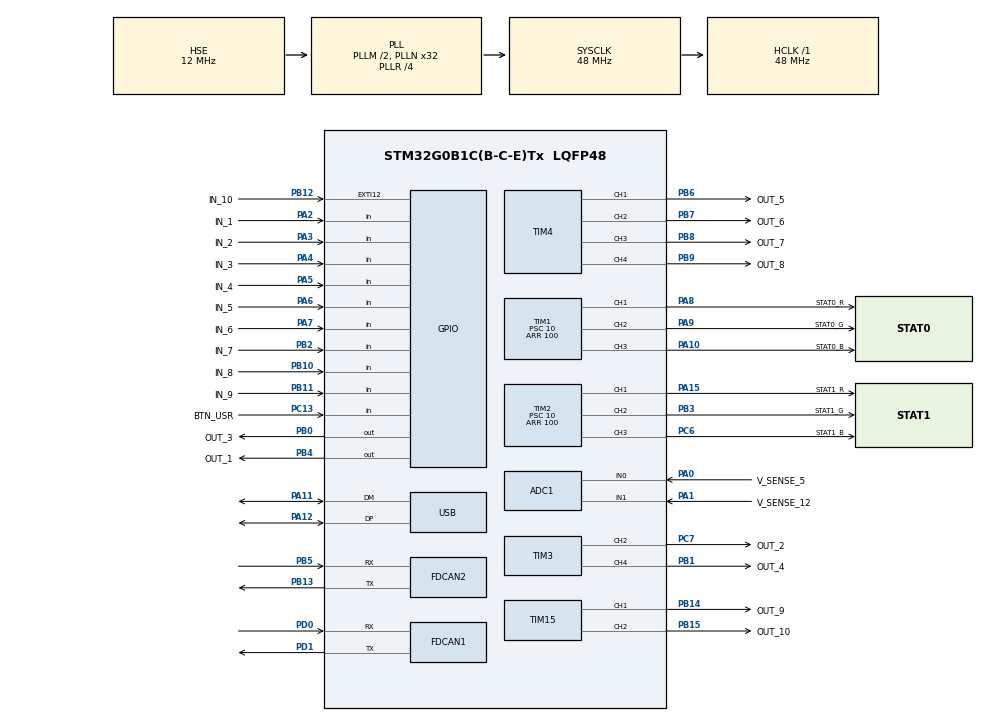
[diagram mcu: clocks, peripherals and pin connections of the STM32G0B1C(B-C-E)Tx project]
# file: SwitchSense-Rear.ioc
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ADC1.ContinuousConvMode=ENABLE
ADC1.DMAContinuousRequests=ENABLE
ADC1.NbrOfConversion=1
ADC1.NbrOfConversionFlag=0
ADC1.OversamplingMode=ENABLE
ADC1.Ratio=ADC_OVERSAMPLING_RATIO_64
ADC1.RightBitShift=ADC_RIGHTBITSHIFT_2
ADC1.SamplingTimeCommon1=ADC_SAMPLETIME_7CYCLES_5
ADC1.SelectedChannel=ADC_CHANNEL_0|ADC_CHANNEL_1|ADC_CHANNEL_TEMPSENSOR|ADC_CHANNEL_VREFINT
ADC1.Sequencer=NOT_FULLY_CONFIGURABLE
ADC1.master=1
Dma.ADC1.0.Direction=DMA_PERIPH_TO_MEMORY
Dma.ADC1.0.EventEnable=DISABLE
Dma.ADC1.0.Instance=DMA1_Channel1
Dma.ADC1.0.MemDataAlignment=DMA_MDATAALIGN_HALFWORD
Dma.ADC1.0.MemInc=DMA_MINC_ENABLE
Dma.ADC1.0.Mode=DMA_CIRCULAR
Dma.ADC1.0.PeriphDataAlignment=DMA_PDATAALIGN_HALFWORD
Dma.ADC1.0.PeriphInc=DMA_PINC_DISABLE
Dma.ADC1.0.Polarity=HAL_DMAMUX_REQ_GEN_RISING
Dma.ADC1.0.Priority=DMA_PRIORITY_HIGH
Dma.ADC1.0.RequestNumber=1
Dma.ADC1.0.SignalID=NONE
Dma.ADC1.0.SyncEnable=DISABLE
Dma.ADC1.0.SyncPolarity=HAL_DMAMUX_SYNC_NO_EVENT
Dma.ADC1.0.SyncRequestNumber=1
Dma.ADC1.0.SyncSignalID=NONE
Dma.Request0=ADC1
FDCAN1.CalculateBaudRateNominal=250000
FDCAN1.CalculateTimeBitNominal=4000
FDCAN1.CalculateTimeQuantumNominal=250.0
FDCAN1.NominalPrescaler=12
FDCAN1.NominalTimeSeg1=13
FDCAN1.NominalTimeSeg2=2
FDCAN2.CalculateBaudRateNominal=500000
FDCAN2.CalculateTimeBitNominal=2000
FDCAN2.CalculateTimeQuantumNominal=125.0
FDCAN2.NominalPrescaler=6
FDCAN2.NominalTimeSeg1=13
FDCAN2.NominalTimeSeg2=2
Mcu.Family=STM32G0
Mcu.Name=STM32G0B1C(B-C-E)Tx
Mcu.Package=LQFP48
NVIC.ADC1_COMP_IRQn=true\:0\:0\:false\:false\:true\:true\:true\:true
NVIC.DMA1_Channel1_IRQn=true\:0\:0\:false\:false\:true\:false\:true\:true
NVIC.EXTI4_15_IRQn=true\:0\:0\:false\:false\:true\:true\:true\:true
NVIC.TIM16_FDCAN_IT0_IRQn=true\:0\:0\:false\:false\:true\:true\:true\:true
NVIC.TIM17_FDCAN_IT1_IRQn=true\:0\:0\:false\:false\:true\:true\:true\:true
PA0.GPIO_Label=V_SENSE_5
PA0.Mode=IN0
PA0.Signal=ADC1_IN0
PA1.GPIO_Label=V_SENSE_12
PA1.Mode=IN1
PA1.Signal=ADC1_IN1
PA10.GPIO_Label=STAT0_B
PA10.Signal=S_TIM1_CH3
PA11\ [PA9].Mode=Device
PA11\ [PA9].Signal=USB_DM
PA12\ [PA10].Mode=Device
PA12\ [PA10].Signal=USB_DP
PA13.Mode=Serial_Wire
PA13.Signal=SYS_SWDIO
PA14-BOOT0.Mode=Serial_Wire
PA14-BOOT0.Signal=SYS_SWCLK
PA15.GPIO_Label=STAT1_R
PA15.Signal=S_TIM2_CH1_ETR
PA2.GPIO_Label=IN_1
PA2.Signal=GPIO_Input
PA3.GPIO_Label=IN_2
PA3.Signal=GPIO_Input
PA4.GPIO_Label=IN_3
PA4.Signal=GPIO_Input
PA5.GPIO_Label=IN_4
PA5.Signal=GPIO_Input
PA6.GPIO_Label=IN_5
PA6.Signal=GPIO_Input
PA7.GPIO_Label=IN_6
PA7.Signal=GPIO_Input
PA8.GPIO_Label=STAT0_R
PA8.Signal=S_TIM1_CH1
PA9.GPIO_Label=STAT0_G
PA9.Signal=S_TIM1_CH2
PB0.GPIO_Label=OUT_3
PB0.Signal=GPIO_Output
PB1.GPIO_Label=OUT_4
PB1.Signal=S_TIM3_CH4
PB10.GPIO_Label=IN_8
PB10.Signal=GPIO_Input
PB11.GPIO_Label=IN_9
PB11.Signal=GPIO_Input
PB12.GPIO_Label=IN_10
PB12.Signal=GPXTI12
PB13.Mode=FDCAN_Activate
PB13.Signal=FDCAN2_TX
PB14.GPIO_Label=OUT_9
PB14.Signal=S_TIM15_CH1
PB15.GPIO_Label=OUT_10
PB15.Signal=S_TIM15_CH2
PB2.GPIO_Label=IN_7
PB2.Signal=GPIO_Input
PB3.GPIO_Label=STAT1_G
PB3.Signal=S_TIM2_CH2
PB4.GPIO_Label=OUT_1
PB4.Signal=GPIO_Output
PB5.Mode=FDCAN_Activate
PB5.Signal=FDCAN2_RX
PB6.GPIO_Label=OUT_5
PB6.Signal=S_TIM4_CH1
PB7.GPIO_Label=OUT_6
PB7.Signal=S_TIM4_CH2
PB8.GPIO_Label=OUT_7
PB8.Signal=S_TIM4_CH3
PB9.GPIO_Label=OUT_8
PB9.Signal=S_TIM4_CH4
PC13.GPIO_Label=BTN_USR
PC13.Signal=GPIO_Input
PC14-OSC32_IN\ (PC14).Mode=LSE-External-Oscillator
PC14-OSC32_IN\ (PC14).Signal=RCC_OSC32_IN
PC15-OSC32_OUT\ (PC15).Mode=LSE-External-Oscillator
PC15-OSC32_OUT\ (PC15).Signal=RCC_OSC32_OUT
PC6.GPIO_Label=STAT1_B
PC6.Signal=S_TIM2_CH3
PC7.GPIO_Label=OUT_2
PC7.Signal=S_TIM3_CH2
PD0.Mode=FDCAN_Activate
PD0.Signal=FDCAN1_RX
PD1.Mode=FDCAN_Activate
PD1.Signal=FDCAN1_TX
PF0-OSC_IN\ (PF0).Mode=HSE-External-Oscillator
PF0-OSC_IN\ (PF0).Signal=RCC_OSC_IN
PF1-OSC_OUT\ (PF1).Mode=HSE-External-Oscillator
PF1-OSC_OUT\ (PF1).Signal=RCC_OSC_OUT
ProjectManager.HeapSize=0x200
ProjectManager.StackSize=0x400
ProjectManager.TargetToolchain=CMake
RCC.ADCFreq_Value=48000000
RCC.AHBFreq_Value=48000000
RCC.CortexFreq_Value=48000000
RCC.EXTERNAL_CLOCK_VALUE=48000
RCC.HCLKFreq_Value=48000000
RCC.HSE_VALUE=12000000
RCC.HSI48_VALUE=48000000
RCC.HSI_VALUE=16000000
RCC.PLLM=RCC_PLLM_DIV2
RCC.PLLN=32
RCC.PLLR=RCC_PLLR_DIV4
RCC.PLLSourceVirtual=RCC_PLLSOURCE_HSE
RCC.RTCClockSelection=RCC_RTCCLKSOURCE_LSE
RCC.SYSCLKFreq_VALUE=48000000
RCC.SYSCLKSource=RCC_SYSCLKSOURCE_PLLCLK
RCC.USBFreq_Value=48000000
RCC.VCOOutputFreq_Value=192000000
SH.S_TIM15_CH1.0=TIM15_CH1,PWM Generation1 CH1
SH.S_TIM15_CH2.0=TIM15_CH2,PWM Generation2 CH2
SH.S_TIM1_CH1.0=TIM1_CH1,PWM Generation1 CH1
SH.S_TIM1_CH2.0=TIM1_CH2,PWM Generation2 CH2
SH.S_TIM1_CH3.0=TIM1_CH3,PWM Generation3 CH3
SH.S_TIM2_CH1_ETR.0=TIM2_CH1,PWM Generation1 CH1
SH.S_TIM2_CH2.0=TIM2_CH2,PWM Generation2 CH2
SH.S_TIM2_CH3.0=TIM2_CH3,PWM Generation3 CH3
SH.S_TIM3_CH2.0=TIM3_CH2,PWM Generation2 CH2
SH.S_TIM3_CH4.0=TIM3_CH4,PWM Generation4 CH4
SH.S_TIM4_CH1.0=TIM4_CH1,PWM Generation1 CH1
SH.S_TIM4_CH2.0=TIM4_CH2,PWM Generation2 CH2
SH.S_TIM4_CH3.0=TIM4_CH3,PWM Generation3 CH3
SH.S_TIM4_CH4.0=TIM4_CH4,PWM Generation4 CH4
TIM1.Channel-PWM\ Generation1\ CH1=TIM_CHANNEL_1
TIM1.Channel-PWM\ Generation2\ CH2=TIM_CHANNEL_2
TIM1.Channel-PWM\ Generation3\ CH3=TIM_CHANNEL_3
TIM1.Period=100
TIM1.Prescaler=10
TIM15.Channel-PWM\ Generation1\ CH1=TIM_CHANNEL_1
TIM15.Channel-PWM\ Generation2\ CH2=TIM_CHANNEL_2
TIM2.Channel-PWM\ Generation1\ CH1=TIM_CHANNEL_1
TIM2.Channel-PWM\ Generation2\ CH2=TIM_CHANNEL_2
TIM2.Channel-PWM\ Generation3\ CH3=TIM_CHANNEL_3
TIM2.Period=100
TIM2.Prescaler=10
TIM3.Channel-PWM\ Generation2\ CH2=TIM_CHANNEL_2
TIM3.Channel-PWM\ Generation4\ CH4=TIM_CHANNEL_4
TIM4.Channel-PWM\ Generation1\ CH1=TIM_CHANNEL_1
TIM4.Channel-PWM\ Generation2\ CH2=TIM_CHANNEL_2
TIM4.Channel-PWM\ Generation3\ CH3=TIM_CHANNEL_3
TIM4.Channel-PWM\ Generation4\ CH4=TIM_CHANNEL_4
TIM6.Period=9999
TIM6.Prescaler=479
VP_ADC1_TempSens_Input.Mode=IN-TempSens
VP_ADC1_Vref_Input.Mode=IN-Vrefint
VP_RTC_VS_RTC_Activate.Mode=RTC_Enabled
VP_SYS_VS_DBSignals.Mode=DisableDeadBatterySignals
VP_TIM6_VS_ClockSourceINT.Mode=Enable_Timer
board=custom

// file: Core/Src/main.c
/* USER CODE BEGIN Header */
/**
  ******************************************************************************
  * @file           : main.c
  * @brief          : Main program body
  ******************************************************************************
  * @attention
  *
  * Copyright (c) 2026 STMicroelectronics.
  * All rights reserved.
  *
  * This software is licensed under terms that can be found in the LICENSE file
  * in the root directory of this software component.
  * If no LICENSE file comes with this software, it is provided AS-IS.
  *
  ******************************************************************************
  */
/* USER CODE END Header */
#include "main.h"

/* USER CODE BEGIN Includes */

#include <math.h>

#include "stm32g0xx_hal.h"
#include "stm32g0xx_hal_gpio.h"
#include "stm32g0xx_hal_rtc_ex.h"
#include "LV3_CAN.h"

/* USER CODE END Includes */

ADC_HandleTypeDef hadc1;
DMA_HandleTypeDef hdma_adc1;

FDCAN_HandleTypeDef hfdcan1;
FDCAN_HandleTypeDef hfdcan2;

RTC_HandleTypeDef hrtc;

TIM_HandleTypeDef htim1;
TIM_HandleTypeDef htim2;
TIM_HandleTypeDef htim3;
TIM_HandleTypeDef htim4;
TIM_HandleTypeDef htim6;
TIM_HandleTypeDef htim15;

PCD_HandleTypeDef hpcd_USB_DRD_FS;

/* USER CODE BEGIN PV */
uint16_t adc_buf[4];

uint16_t V_SENSE_5;
uint16_t V_SENSE_12;

// 12-bit ADC, 64x oversampling, right shift 2: full scale = 4095 * 64 / 4
// V_pin = (raw / (4095.0f * 64.0f / 4.0f)) * 3.3f
float v_sense_5;   // V_pin * (1 + 1) / 1 — 1:1 divider
float v_sense_12;  // V_pin * (100 + 5.1) / 5.1

GPIO_PinState in_1;
GPIO_PinState in_10;

uint32_t led_state = 0;

uint8_t out_1_state = 0;
uint32_t out_1_toggle_tick = 0;

// --- RPM (IN_10 pulse input) ---
// Adaptive: at high speed enough pulses land in each update window to count
// them (averages out HAL_GetTick()'s 1ms quantization); at low speed too few
// pulses land per window, so fall back to timing the single last inter-pulse
// period instead.
#define RPM_PULSES_PER_REV      48u   // pulses per wheel revolution
#define RPM_UPDATE_INTERVAL_MS  100u  // recompute rpm at this rate
#define RPM_TIMEOUT_MS          500u  // no pulse for this long => report 0 RPM
#define RPM_MIN_COUNT_FOR_FREQ  2u    // below this many pulses/window, use period instead

volatile uint32_t rpm_pulse_count = 0;     // pulses since last RPM update
volatile uint32_t rpm_last_pulse_tick = 0; // tick of most recent pulse
volatile uint32_t rpm_last_period_ms = 0;  // ms between the last two pulses

uint32_t rpm_update_tick = 0;
float rpm = 0.0f;

// --- Speed (derived from RPM and wheel size) ---
#define WHEEL_DIAMETER_IN  21.5f  // configurable wheel diameter, inches
// mph = rpm * (pi * diameter) [inches/rev] * 60 [min/hr] / 63360 [inches/mile]
#define RPM_TO_MPH_SCALE   60.0f * (WHEEL_DIAMETER_IN * 3.14159265f / 12.0f / 5280.0f)

float speed_mph = 0.0f;

// Basic first-order IIR (exponential moving average) low-pass on the speed
// output, to smooth out the update-to-update noise from the RPM calc.
#define SPEED_MPH_IIR_ALPHA  0.2f  // 0-1; smaller = smoother but slower to respond
float speed_mph_filtered = 0.0f;

// --- LV3 CAN bindings (module id 8, rounded to nearest integer) ---
uint32_t motor_rpm_val = 0;
uint32_t motor_speed_val = 0;
uint32_t main_contactor_enabled = 0;
uint32_t _hv_faults = 0;

const LV3_CAN_Binding lv3_can_bindings[] = {
    {&motor_rpm_val,   motor_rpm,   LV3_CAN_BindMode_Write},
    {&motor_speed_val, motor_speed, LV3_CAN_BindMode_Write},
    {&main_contactor_enabled, hv_main_active, LV3_CAN_BindMode_Read},
    {&_hv_faults, hv_fault, LV3_CAN_BindMode_Read},
};
const unsigned int lv3_can_bindings_count = sizeof(lv3_can_bindings) / sizeof(LV3_CAN_Binding);
/* USER CODE END PV */

void SystemClock_Config(void);
static void MX_GPIO_Init(void);
static void MX_DMA_Init(void);
static void MX_FDCAN1_Init(void);
static void MX_USB_DRD_FS_PCD_Init(void);
static void MX_TIM1_Init(void);
static void MX_TIM2_Init(void);
static void MX_TIM3_Init(void);
static void MX_TIM4_Init(void);
static void MX_TIM15_Init(void);
static void MX_ADC1_Init(void);
static void MX_FDCAN2_Init(void);
static void MX_RTC_Init(void);
static void MX_TIM6_Init(void);

int main(void)
{

  /* MCU Configuration--------------------------------------------------------*/

  /* Reset of all peripherals, Initializes the Flash interface and the Systick. */
  HAL_Init();

  /* Configure the system clock */
  SystemClock_Config();

  /* Initialize all configured peripherals */
  MX_GPIO_Init();
  MX_DMA_Init();
  MX_FDCAN1_Init();
  MX_USB_DRD_FS_PCD_Init();
  MX_TIM1_Init();
  MX_TIM2_Init();
  MX_TIM3_Init();
  MX_TIM4_Init();
  MX_TIM15_Init();
  MX_ADC1_Init();
  MX_FDCAN2_Init();
  MX_RTC_Init();
  MX_TIM6_Init();
  /* USER CODE BEGIN 2 */

  HAL_ADCEx_Calibration_Start(&hadc1);

  HAL_ADC_Start_DMA(&hadc1, (uint32_t *)adc_buf, 4);

  HAL_PWR_EnableBkUpAccess();

  led_state = HAL_RTCEx_BKUPRead(&hrtc, RTC_BKP_DR0);

  HAL_TIM_PWM_Start(&htim1, TIM_CHANNEL_1);
  HAL_TIM_PWM_Start(&htim1, TIM_CHANNEL_2);
  HAL_TIM_PWM_Start(&htim1, TIM_CHANNEL_3);

  LV3_CAN_Init(8, LV3_CAN_BusMode_Normal, lv3_can_bindings, lv3_can_bindings_count);

  HAL_FDCAN_Start(&hfdcan2);
  HAL_FDCAN_ActivateNotification(&hfdcan2, FDCAN_IT_RX_FIFO0_NEW_MESSAGE, 0);

  // fdcan allow all messages
  FDCAN_FilterTypeDef aux_filter;
  aux_filter.IdType = FDCAN_STANDARD_ID;
  aux_filter.FilterIndex = 0;
  aux_filter.FilterType = FDCAN_FILTER_MASK;
  aux_filter.FilterConfig = FDCAN_FILTER_TO_RXFIFO0;
  aux_filter.FilterID1 = 0x000;
  aux_filter.FilterID2 = 0x000;
  HAL_FDCAN_ConfigFilter(&hfdcan2, &aux_filter);

  GPIO_PinState last_button_state = HAL_GPIO_ReadPin(BTN_USR_GPIO_Port, BTN_USR_Pin);

  /* USER CODE END 2 */

  /* Infinite loop */
  while (1)
  {

    /* USER CODE BEGIN 3 */

    // --- Read inputs ---
    V_SENSE_5  = adc_buf[0];
    V_SENSE_12 = adc_buf[1];

    float adc_pin_voltage;

    adc_pin_voltage = (V_SENSE_5 / (4095.0f * 64.0f / 4.0f)) * 3.3f;
    v_sense_5 = adc_pin_voltage * (1.0f + 1.0f) / 1.0f;

    adc_pin_voltage = (V_SENSE_12 / (4095.0f * 64.0f / 4.0f)) * 3.3f;
    v_sense_12 = adc_pin_voltage * (100.0f + 5.1f) / 5.1f;

    in_1 = HAL_GPIO_ReadPin(IN_1_GPIO_Port, IN_1_Pin);
    in_10 = HAL_GPIO_ReadPin(IN_10_GPIO_Port, IN_10_Pin);

    // --- Process state ---

    // RPM: below minimum speed (no pulse within timeout) reports zero. Above
    // that, use pulse counting over the update window at high speed (where
    // enough pulses land per window for good precision) and fall back to the
    // last measured inter-pulse period at low speed (too few pulses/window).
    uint32_t rpm_now = HAL_GetTick();
    if (rpm_now - rpm_last_pulse_tick >= RPM_TIMEOUT_MS) {
      rpm = 0.0f;
      rpm_pulse_count = 0;
      rpm_update_tick = rpm_now;
    } else if (rpm_now - rpm_update_tick >= RPM_UPDATE_INTERVAL_MS) {
      __disable_irq();
      uint32_t count = rpm_pulse_count;
      rpm_pulse_count = 0;
      uint32_t period_ms = rpm_last_period_ms;
      __enable_irq();

      uint32_t window_ms = rpm_now - rpm_update_tick;
      rpm_update_tick = rpm_now;

      if (count >= RPM_MIN_COUNT_FOR_FREQ) {
        rpm = ((float)count / RPM_PULSES_PER_REV) * (60000.0f / (float)window_ms);
      } else if (period_ms > 0) {
        rpm = 60000.0f / ((float)period_ms * RPM_PULSES_PER_REV);
      }
    }

    speed_mph = rpm * RPM_TO_MPH_SCALE;
    speed_mph_filtered += SPEED_MPH_IIR_ALPHA * (speed_mph - speed_mph_filtered);

    // --- LV3 CAN ---
    motor_rpm_val = (uint32_t)lroundf(rpm);
    motor_speed_val = (uint32_t)lroundf(speed_mph_filtered);
    LV3_CAN_Loop();

    // Toggle OUT_1 every 1s
    if (HAL_GetTick() - out_1_toggle_tick >= 1000) {
      out_1_toggle_tick = HAL_GetTick();
      out_1_state ^= 1;
    }

    GPIO_PinState button_state = HAL_GPIO_ReadPin(BTN_USR_GPIO_Port, BTN_USR_Pin);
    if (button_state == GPIO_PIN_SET && last_button_state == GPIO_PIN_RESET) {
      led_state ^= 1;
      HAL_RTCEx_BKUPWrite(&hrtc, RTC_BKP_DR0, led_state);
    }
    last_button_state = button_state;

    // --- Apply outputs ---
    HAL_GPIO_WritePin(OUT_1_GPIO_Port, OUT_1_Pin, out_1_state);
    HAL_GPIO_WritePin(OUT_2_GPIO_Port, OUT_2_Pin, main_contactor_enabled);
    if (_hv_faults) {
      HAL_GPIO_WritePin(OUT_2_GPIO_Port, OUT_2_Pin, (HAL_GetTick() / 200) % 2);
      HAL_GPIO_WritePin(OUT_3_GPIO_Port, OUT_3_Pin, (HAL_GetTick() / 200) % 2);
    } else {
      HAL_GPIO_WritePin(OUT_3_GPIO_Port, OUT_3_Pin, GPIO_PIN_RESET);
    }
    // __HAL_TIM_SET_COMPARE(&htim1, TIM_CHANNEL_1, in_1*100);
    // __HAL_TIM_SET_COMPARE(&htim1, TIM_CHANNEL_2, led_state*100);
    __HAL_TIM_SET_COMPARE(&htim1, TIM_CHANNEL_3, in_10*100);
  }
  /* USER CODE END 3 */
}

void SystemClock_Config(void)
{
  RCC_OscInitTypeDef RCC_OscInitStruct = {0};
  RCC_ClkInitTypeDef RCC_ClkInitStruct = {0};

  /** Configure the main internal regulator output voltage
  */
  HAL_PWREx_ControlVoltageScaling(PWR_REGULATOR_VOLTAGE_SCALE1);

  /** Configure LSE Drive Capability
  */
  HAL_PWR_EnableBkUpAccess();
  __HAL_RCC_LSEDRIVE_CONFIG(RCC_LSEDRIVE_LOW);

  /** Initializes the RCC Oscillators according to the specified parameters
  * in the RCC_OscInitTypeDef structure.
  */
  RCC_OscInitStruct.OscillatorType = RCC_OSCILLATORTYPE_HSE|RCC_OSCILLATORTYPE_LSE
                              |RCC_OSCILLATORTYPE_HSI48;
  RCC_OscInitStruct.HSEState = RCC_HSE_ON;
  RCC_OscInitStruct.LSEState = RCC_LSE_ON;
  RCC_OscInitStruct.HSI48State = RCC_HSI48_ON;
  RCC_OscInitStruct.PLL.PLLState = RCC_PLL_ON;
  RCC_OscInitStruct.PLL.PLLSource = RCC_PLLSOURCE_HSE;
  RCC_OscInitStruct.PLL.PLLM = RCC_PLLM_DIV2;
  RCC_OscInitStruct.PLL.PLLN = 32;
  RCC_OscInitStruct.PLL.PLLP = RCC_PLLP_DIV2;
  RCC_OscInitStruct.PLL.PLLQ = RCC_PLLQ_DIV2;
  RCC_OscInitStruct.PLL.PLLR = RCC_PLLR_DIV4;
  if (HAL_RCC_OscConfig(&RCC_OscInitStruct) != HAL_OK)
  {
    Error_Handler();
  }

  /** Initializes the CPU, AHB and APB buses clocks
  */
  RCC_ClkInitStruct.ClockType = RCC_CLOCKTYPE_HCLK|RCC_CLOCKTYPE_SYSCLK
                              |RCC_CLOCKTYPE_PCLK1;
  RCC_ClkInitStruct.SYSCLKSource = RCC_SYSCLKSOURCE_PLLCLK;
  RCC_ClkInitStruct.AHBCLKDivider = RCC_SYSCLK_DIV1;
  RCC_ClkInitStruct.APB1CLKDivider = RCC_HCLK_DIV1;

  if (HAL_RCC_ClockConfig(&RCC_ClkInitStruct, FLASH_LATENCY_1) != HAL_OK)
  {
    Error_Handler();
  }
}

static void MX_ADC1_Init(void)
{

  ADC_ChannelConfTypeDef sConfig = {0};

  /** Configure the global features of the ADC (Clock, Resolution, Data Alignment and number of conversion)
  */
  hadc1.Instance = ADC1;
  hadc1.Init.ClockPrescaler = ADC_CLOCK_SYNC_PCLK_DIV2;
  hadc1.Init.Resolution = ADC_RESOLUTION_12B;
  hadc1.Init.DataAlign = ADC_DATAALIGN_RIGHT;
  hadc1.Init.ScanConvMode = ADC_SCAN_SEQ_FIXED;
  hadc1.Init.EOCSelection = ADC_EOC_SINGLE_CONV;
  hadc1.Init.LowPowerAutoWait = DISABLE;
  hadc1.Init.LowPowerAutoPowerOff = DISABLE;
  hadc1.Init.ContinuousConvMode = ENABLE;
  hadc1.Init.NbrOfConversion = 1;
  hadc1.Init.ExternalTrigConv = ADC_SOFTWARE_START;
  hadc1.Init.ExternalTrigConvEdge = ADC_EXTERNALTRIGCONVEDGE_NONE;
  hadc1.Init.DMAContinuousRequests = ENABLE;
  hadc1.Init.Overrun = ADC_OVR_DATA_PRESERVED;
  hadc1.Init.SamplingTimeCommon1 = ADC_SAMPLETIME_7CYCLES_5;
  hadc1.Init.OversamplingMode = ENABLE;
  hadc1.Init.Oversampling.Ratio = ADC_OVERSAMPLING_RATIO_64;
  hadc1.Init.Oversampling.RightBitShift = ADC_RIGHTBITSHIFT_2;
  hadc1.Init.Oversampling.TriggeredMode = ADC_TRIGGEREDMODE_SINGLE_TRIGGER;
  hadc1.Init.TriggerFrequencyMode = ADC_TRIGGER_FREQ_HIGH;
  if (HAL_ADC_Init(&hadc1) != HAL_OK)
  {
    Error_Handler();
  }

  /** Configure Regular Channel
  */
  sConfig.Channel = ADC_CHANNEL_0;
  sConfig.Rank = ADC_RANK_CHANNEL_NUMBER;
  if (HAL_ADC_ConfigChannel(&hadc1, &sConfig) != HAL_OK)
  {
    Error_Handler();
  }

  /** Configure Regular Channel
  */
  sConfig.Channel = ADC_CHANNEL_1;
  if (HAL_ADC_ConfigChannel(&hadc1, &sConfig) != HAL_OK)
  {
    Error_Handler();
  }

  /** Configure Regular Channel
  */
  sConfig.Channel = ADC_CHANNEL_TEMPSENSOR;
  if (HAL_ADC_ConfigChannel(&hadc1, &sConfig) != HAL_OK)
  {
    Error_Handler();
  }

  /** Configure Regular Channel
  */
  sConfig.Channel = ADC_CHANNEL_VREFINT;
  if (HAL_ADC_ConfigChannel(&hadc1, &sConfig) != HAL_OK)
  {
    Error_Handler();
  }

}

static void MX_FDCAN1_Init(void)
{

  hfdcan1.Instance = FDCAN1;
  hfdcan1.Init.ClockDivider = FDCAN_CLOCK_DIV1;
  hfdcan1.Init.FrameFormat = FDCAN_FRAME_CLASSIC;
  hfdcan1.Init.Mode = FDCAN_MODE_NORMAL;
  hfdcan1.Init.AutoRetransmission = DISABLE;
  hfdcan1.Init.TransmitPause = DISABLE;
  hfdcan1.Init.ProtocolException = DISABLE;
  hfdcan1.Init.NominalPrescaler = 12;
  hfdcan1.Init.NominalSyncJumpWidth = 1;
  hfdcan1.Init.NominalTimeSeg1 = 13;
  hfdcan1.Init.NominalTimeSeg2 = 2;
  hfdcan1.Init.DataPrescaler = 1;
  hfdcan1.Init.DataSyncJumpWidth = 1;
  hfdcan1.Init.DataTimeSeg1 = 1;
  hfdcan1.Init.DataTimeSeg2 = 1;
  hfdcan1.Init.StdFiltersNbr = 0;
  hfdcan1.Init.ExtFiltersNbr = 0;
  hfdcan1.Init.TxFifoQueueMode = FDCAN_TX_FIFO_OPERATION;
  if (HAL_FDCAN_Init(&hfdcan1) != HAL_OK)
  {
    Error_Handler();
  }

}

static void MX_FDCAN2_Init(void)
{

  hfdcan2.Instance = FDCAN2;
  hfdcan2.Init.ClockDivider = FDCAN_CLOCK_DIV1;
  hfdcan2.Init.FrameFormat = FDCAN_FRAME_CLASSIC;
  hfdcan2.Init.Mode = FDCAN_MODE_NORMAL;
  hfdcan2.Init.AutoRetransmission = DISABLE;
  hfdcan2.Init.TransmitPause = DISABLE;
  hfdcan2.Init.ProtocolException = DISABLE;
  hfdcan2.Init.NominalPrescaler = 6;
  hfdcan2.Init.NominalSyncJumpWidth = 1;
  hfdcan2.Init.NominalTimeSeg1 = 13;
  hfdcan2.Init.NominalTimeSeg2 = 2;
  hfdcan2.Init.DataPrescaler = 1;
  hfdcan2.Init.DataSyncJumpWidth = 1;
  hfdcan2.Init.DataTimeSeg1 = 1;
  hfdcan2.Init.DataTimeSeg2 = 1;
  hfdcan2.Init.StdFiltersNbr = 0;
  hfdcan2.Init.ExtFiltersNbr = 0;
  hfdcan2.Init.TxFifoQueueMode = FDCAN_TX_FIFO_OPERATION;
  if (HAL_FDCAN_Init(&hfdcan2) != HAL_OK)
  {
    Error_Handler();
  }

}

static void MX_RTC_Init(void)
{

  /** Initialize RTC Only
  */
  hrtc.Instance = RTC;
  hrtc.Init.HourFormat = RTC_HOURFORMAT_24;
  hrtc.Init.AsynchPrediv = 127;
  hrtc.Init.SynchPrediv = 255;
  hrtc.Init.OutPut = RTC_OUTPUT_DISABLE;
  hrtc.Init.OutPutRemap = RTC_OUTPUT_REMAP_NONE;
  hrtc.Init.OutPutPolarity = RTC_OUTPUT_POLARITY_HIGH;
  hrtc.Init.OutPutType = RTC_OUTPUT_TYPE_OPENDRAIN;
  hrtc.Init.OutPutPullUp = RTC_OUTPUT_PULLUP_NONE;
  if (HAL_RTC_Init(&hrtc) != HAL_OK)
  {
    Error_Handler();
  }

}

static void MX_TIM1_Init(void)
{

  TIM_MasterConfigTypeDef sMasterConfig = {0};
  TIM_OC_InitTypeDef sConfigOC = {0};
  TIM_BreakDeadTimeConfigTypeDef sBreakDeadTimeConfig = {0};

  htim1.Instance = TIM1;
  htim1.Init.Prescaler = 10;
  htim1.Init.CounterMode = TIM_COUNTERMODE_UP;
  htim1.Init.Period = 100;
  htim1.Init.ClockDivision = TIM_CLOCKDIVISION_DIV1;
  htim1.Init.RepetitionCounter = 0;
  htim1.Init.AutoReloadPreload = TIM_AUTORELOAD_PRELOAD_DISABLE;
  if (HAL_TIM_PWM_Init(&htim1) != HAL_OK)
  {
    Error_Handler();
  }
  sMasterConfig.MasterOutputTrigger = TIM_TRGO_RESET;
  sMasterConfig.MasterOutputTrigger2 = TIM_TRGO2_RESET;
  sMasterConfig.MasterSlaveMode = TIM_MASTERSLAVEMODE_DISABLE;
  if (HAL_TIMEx_MasterConfigSynchronization(&htim1, &sMasterConfig) != HAL_OK)
  {
    Error_Handler();
  }
  sConfigOC.OCMode = TIM_OCMODE_PWM1;
  sConfigOC.Pulse = 0;
  sConfigOC.OCPolarity = TIM_OCPOLARITY_HIGH;
  sConfigOC.OCNPolarity = TIM_OCNPOLARITY_HIGH;
  sConfigOC.OCFastMode = TIM_OCFAST_DISABLE;
  sConfigOC.OCIdleState = TIM_OCIDLESTATE_RESET;
  sConfigOC.OCNIdleState = TIM_OCNIDLESTATE_RESET;
  if (HAL_TIM_PWM_ConfigChannel(&htim1, &sConfigOC, TIM_CHANNEL_1) != HAL_OK)
  {
    Error_Handler();
  }
  if (HAL_TIM_PWM_ConfigChannel(&htim1, &sConfigOC, TIM_CHANNEL_2) != HAL_OK)
  {
    Error_Handler();
  }
  if (HAL_TIM_PWM_ConfigChannel(&htim1, &sConfigOC, TIM_CHANNEL_3) != HAL_OK)
  {
    Error_Handler();
  }
  sBreakDeadTimeConfig.OffStateRunMode = TIM_OSSR_DISABLE;
  sBreakDeadTimeConfig.OffStateIDLEMode = TIM_OSSI_DISABLE;
  sBreakDeadTimeConfig.LockLevel = TIM_LOCKLEVEL_OFF;
  sBreakDeadTimeConfig.DeadTime = 0;
  sBreakDeadTimeConfig.BreakState = TIM_BREAK_DISABLE;
  sBreakDeadTimeConfig.BreakPolarity = TIM_BREAKPOLARITY_HIGH;
  sBreakDeadTimeConfig.BreakFilter = 0;
  sBreakDeadTimeConfig.BreakAFMode = TIM_BREAK_AFMODE_INPUT;
  sBreakDeadTimeConfig.Break2State = TIM_BREAK2_DISABLE;
  sBreakDeadTimeConfig.Break2Polarity = TIM_BREAK2POLARITY_HIGH;
  sBreakDeadTimeConfig.Break2Filter = 0;
  sBreakDeadTimeConfig.Break2AFMode = TIM_BREAK_AFMODE_INPUT;
  sBreakDeadTimeConfig.AutomaticOutput = TIM_AUTOMATICOUTPUT_DISABLE;
  if (HAL_TIMEx_ConfigBreakDeadTime(&htim1, &sBreakDeadTimeConfig) != HAL_OK)
  {
    Error_Handler();
  }
  HAL_TIM_MspPostInit(&htim1);

}

static void MX_TIM2_Init(void)
{

  TIM_MasterConfigTypeDef sMasterConfig = {0};
  TIM_OC_InitTypeDef sConfigOC = {0};

  htim2.Instance = TIM2;
  htim2.Init.Prescaler = 10;
  htim2.Init.CounterMode = TIM_COUNTERMODE_UP;
  htim2.Init.Period = 100;
  htim2.Init.ClockDivision = TIM_CLOCKDIVISION_DIV1;
  htim2.Init.AutoReloadPreload = TIM_AUTORELOAD_PRELOAD_DISABLE;
  if (HAL_TIM_PWM_Init(&htim2) != HAL_OK)
  {
    Error_Handler();
  }
  sMasterConfig.MasterOutputTrigger = TIM_TRGO_RESET;
  sMasterConfig.MasterSlaveMode = TIM_MASTERSLAVEMODE_DISABLE;
  if (HAL_TIMEx_MasterConfigSynchronization(&htim2, &sMasterConfig) != HAL_OK)
  {
    Error_Handler();
  }
  sConfigOC.OCMode = TIM_OCMODE_PWM1;
  sConfigOC.Pulse = 0;
  sConfigOC.OCPolarity = TIM_OCPOLARITY_HIGH;
  sConfigOC.OCFastMode = TIM_OCFAST_DISABLE;
  if (HAL_TIM_PWM_ConfigChannel(&htim2, &sConfigOC, TIM_CHANNEL_1) != HAL_OK)
  {
    Error_Handler();
  }
  if (HAL_TIM_PWM_ConfigChannel(&htim2, &sConfigOC, TIM_CHANNEL_2) != HAL_OK)
  {
    Error_Handler();
  }
  if (HAL_TIM_PWM_ConfigChannel(&htim2, &sConfigOC, TIM_CHANNEL_3) != HAL_OK)
  {
    Error_Handler();
  }
  HAL_TIM_MspPostInit(&htim2);

}

static void MX_TIM3_Init(void)
{

  TIM_MasterConfigTypeDef sMasterConfig = {0};
  TIM_OC_InitTypeDef sConfigOC = {0};

  htim3.Instance = TIM3;
  htim3.Init.Prescaler = 0;
  htim3.Init.CounterMode = TIM_COUNTERMODE_UP;
  htim3.Init.Period = 65535;
  htim3.Init.ClockDivision = TIM_CLOCKDIVISION_DIV1;
  htim3.Init.AutoReloadPreload = TIM_AUTORELOAD_PRELOAD_DISABLE;
  if (HAL_TIM_PWM_Init(&htim3) != HAL_OK)
  {
    Error_Handler();
  }
  sMasterConfig.MasterOutputTrigger = TIM_TRGO_RESET;
  sMasterConfig.MasterSlaveMode = TIM_MASTERSLAVEMODE_DISABLE;
  if (HAL_TIMEx_MasterConfigSynchronization(&htim3, &sMasterConfig) != HAL_OK)
  {
    Error_Handler();
  }
  sConfigOC.OCMode = TIM_OCMODE_PWM1;
  sConfigOC.Pulse = 0;
  sConfigOC.OCPolarity = TIM_OCPOLARITY_HIGH;
  sConfigOC.OCFastMode = TIM_OCFAST_DISABLE;
  if (HAL_TIM_PWM_ConfigChannel(&htim3, &sConfigOC, TIM_CHANNEL_2) != HAL_OK)
  {
    Error_Handler();
  }
  if (HAL_TIM_PWM_ConfigChannel(&htim3, &sConfigOC, TIM_CHANNEL_4) != HAL_OK)
  {
    Error_Handler();
  }
  HAL_TIM_MspPostInit(&htim3);

}

static void MX_TIM4_Init(void)
{

  TIM_MasterConfigTypeDef sMasterConfig = {0};
  TIM_OC_InitTypeDef sConfigOC = {0};

  htim4.Instance = TIM4;
  htim4.Init.Prescaler = 0;
  htim4.Init.CounterMode = TIM_COUNTERMODE_UP;
  htim4.Init.Period = 65535;
  htim4.Init.ClockDivision = TIM_CLOCKDIVISION_DIV1;
  htim4.Init.AutoReloadPreload = TIM_AUTORELOAD_PRELOAD_DISABLE;
  if (HAL_TIM_PWM_Init(&htim4) != HAL_OK)
  {
    Error_Handler();
  }
  sMasterConfig.MasterOutputTrigger = TIM_TRGO_RESET;
  sMasterConfig.MasterSlaveMode = TIM_MASTERSLAVEMODE_DISABLE;
  if (HAL_TIMEx_MasterConfigSynchronization(&htim4, &sMasterConfig) != HAL_OK)
  {
    Error_Handler();
  }
  sConfigOC.OCMode = TIM_OCMODE_PWM1;
  sConfigOC.Pulse = 0;
  sConfigOC.OCPolarity = TIM_OCPOLARITY_HIGH;
  sConfigOC.OCFastMode = TIM_OCFAST_DISABLE;
  if (HAL_TIM_PWM_ConfigChannel(&htim4, &sConfigOC, TIM_CHANNEL_1) != HAL_OK)
  {
    Error_Handler();
  }
  if (HAL_TIM_PWM_ConfigChannel(&htim4, &sConfigOC, TIM_CHANNEL_2) != HAL_OK)
  {
    Error_Handler();
  }
  if (HAL_TIM_PWM_ConfigChannel(&htim4, &sConfigOC, TIM_CHANNEL_3) != HAL_OK)
  {
    Error_Handler();
  }
  if (HAL_TIM_PWM_ConfigChannel(&htim4, &sConfigOC, TIM_CHANNEL_4) != HAL_OK)
  {
    Error_Handler();
  }
  HAL_TIM_MspPostInit(&htim4);

}

static void MX_TIM6_Init(void)
{

  TIM_MasterConfigTypeDef sMasterConfig = {0};

  htim6.Instance = TIM6;
  htim6.Init.Prescaler = 479;
  htim6.Init.CounterMode = TIM_COUNTERMODE_UP;
  htim6.Init.Period = 9999;
  htim6.Init.AutoReloadPreload = TIM_AUTORELOAD_PRELOAD_DISABLE;
  if (HAL_TIM_Base_Init(&htim6) != HAL_OK)
  {
    Error_Handler();
  }
  sMasterConfig.MasterOutputTrigger = TIM_TRGO_RESET;
  sMasterConfig.MasterSlaveMode = TIM_MASTERSLAVEMODE_DISABLE;
  if (HAL_TIMEx_MasterConfigSynchronization(&htim6, &sMasterConfig) != HAL_OK)
  {
    Error_Handler();
  }

}

static void MX_TIM15_Init(void)
{

  TIM_MasterConfigTypeDef sMasterConfig = {0};
  TIM_OC_InitTypeDef sConfigOC = {0};
  TIM_BreakDeadTimeConfigTypeDef sBreakDeadTimeConfig = {0};

  htim15.Instance = TIM15;
  htim15.Init.Prescaler = 0;
  htim15.Init.CounterMode = TIM_COUNTERMODE_UP;
  htim15.Init.Period = 65535;
  htim15.Init.ClockDivision = TIM_CLOCKDIVISION_DIV1;
  htim15.Init.RepetitionCounter = 0;
  htim15.Init.AutoReloadPreload = TIM_AUTORELOAD_PRELOAD_DISABLE;
  if (HAL_TIM_PWM_Init(&htim15) != HAL_OK)
  {
    Error_Handler();
  }
  sMasterConfig.MasterOutputTrigger = TIM_TRGO_RESET;
  sMasterConfig.MasterSlaveMode = TIM_MASTERSLAVEMODE_DISABLE;
  if (HAL_TIMEx_MasterConfigSynchronization(&htim15, &sMasterConfig) != HAL_OK)
  {
    Error_Handler();
  }
  sConfigOC.OCMode = TIM_OCMODE_PWM1;
  sConfigOC.Pulse = 0;
  sConfigOC.OCPolarity = TIM_OCPOLARITY_HIGH;
  sConfigOC.OCNPolarity = TIM_OCNPOLARITY_HIGH;
  sConfigOC.OCFastMode = TIM_OCFAST_DISABLE;
  sConfigOC.OCIdleState = TIM_OCIDLESTATE_RESET;
  sConfigOC.OCNIdleState = TIM_OCNIDLESTATE_RESET;
  if (HAL_TIM_PWM_ConfigChannel(&htim15, &sConfigOC, TIM_CHANNEL_1) != HAL_OK)
  {
    Error_Handler();
  }
  if (HAL_TIM_PWM_ConfigChannel(&htim15, &sConfigOC, TIM_CHANNEL_2) != HAL_OK)
  {
    Error_Handler();
  }
  sBreakDeadTimeConfig.OffStateRunMode = TIM_OSSR_DISABLE;
  sBreakDeadTimeConfig.OffStateIDLEMode = TIM_OSSI_DISABLE;
  sBreakDeadTimeConfig.LockLevel = TIM_LOCKLEVEL_OFF;
  sBreakDeadTimeConfig.DeadTime = 0;
  sBreakDeadTimeConfig.BreakState = TIM_BREAK_DISABLE;
  sBreakDeadTimeConfig.BreakPolarity = TIM_BREAKPOLARITY_HIGH;
  sBreakDeadTimeConfig.BreakFilter = 0;
  sBreakDeadTimeConfig.AutomaticOutput = TIM_AUTOMATICOUTPUT_DISABLE;
  if (HAL_TIMEx_ConfigBreakDeadTime(&htim15, &sBreakDeadTimeConfig) != HAL_OK)
  {
    Error_Handler();
  }
  HAL_TIM_MspPostInit(&htim15);

}

static void MX_USB_DRD_FS_PCD_Init(void)
{

  hpcd_USB_DRD_FS.Instance = USB_DRD_FS;
  hpcd_USB_DRD_FS.Init.dev_endpoints = 8;
  hpcd_USB_DRD_FS.Init.Host_channels = 8;
  hpcd_USB_DRD_FS.Init.speed = PCD_SPEED_FULL;
  hpcd_USB_DRD_FS.Init.phy_itface = PCD_PHY_EMBEDDED;
  hpcd_USB_DRD_FS.Init.Sof_enable = DISABLE;
  hpcd_USB_DRD_FS.Init.low_power_enable = DISABLE;
  hpcd_USB_DRD_FS.Init.lpm_enable = DISABLE;
  hpcd_USB_DRD_FS.Init.battery_charging_enable = DISABLE;
  hpcd_USB_DRD_FS.Init.vbus_sensing_enable = DISABLE;
  hpcd_USB_DRD_FS.Init.bulk_doublebuffer_enable = DISABLE;
  hpcd_USB_DRD_FS.Init.iso_singlebuffer_enable = DISABLE;
  if (HAL_PCD_Init(&hpcd_USB_DRD_FS) != HAL_OK)
  {
    Error_Handler();
  }

}

static void MX_DMA_Init(void)
{

  /* DMA controller clock enable */
  __HAL_RCC_DMA1_CLK_ENABLE();

  /* DMA interrupt init */
  /* DMA1_Channel1_IRQn interrupt configuration */
  HAL_NVIC_SetPriority(DMA1_Channel1_IRQn, 0, 0);
  HAL_NVIC_EnableIRQ(DMA1_Channel1_IRQn);

}

static void MX_GPIO_Init(void)
{
  GPIO_InitTypeDef GPIO_InitStruct = {0};

  /* GPIO Ports Clock Enable */
  __HAL_RCC_GPIOC_CLK_ENABLE();
  __HAL_RCC_GPIOF_CLK_ENABLE();
  __HAL_RCC_GPIOA_CLK_ENABLE();
  __HAL_RCC_GPIOB_CLK_ENABLE();
  __HAL_RCC_GPIOD_CLK_ENABLE();

  /*Configure GPIO pin Output Level */
  HAL_GPIO_WritePin(GPIOB, OUT_3_Pin|OUT_1_Pin, GPIO_PIN_RESET);

  /*Configure GPIO pin : BTN_USR_Pin */
  GPIO_InitStruct.Pin = BTN_USR_Pin;
  GPIO_InitStruct.Mode = GPIO_MODE_INPUT;
  GPIO_InitStruct.Pull = GPIO_NOPULL;
  HAL_GPIO_Init(BTN_USR_GPIO_Port, &GPIO_InitStruct);

  /*Configure GPIO pins : IN_1_Pin IN_2_Pin IN_3_Pin IN_4_Pin
                           IN_5_Pin IN_6_Pin */
  GPIO_InitStruct.Pin = IN_1_Pin|IN_2_Pin|IN_3_Pin|IN_4_Pin
                          |IN_5_Pin|IN_6_Pin;
  GPIO_InitStruct.Mode = GPIO_MODE_INPUT;
  GPIO_InitStruct.Pull = GPIO_NOPULL;
  HAL_GPIO_Init(GPIOA, &GPIO_InitStruct);

  /*Configure GPIO pins : OUT_3_Pin OUT_1_Pin */
  GPIO_InitStruct.Pin = OUT_3_Pin|OUT_1_Pin;
  GPIO_InitStruct.Mode = GPIO_MODE_OUTPUT_PP;
  GPIO_InitStruct.Pull = GPIO_NOPULL;
  GPIO_InitStruct.Speed = GPIO_SPEED_FREQ_LOW;
  HAL_GPIO_Init(GPIOB, &GPIO_InitStruct);

  /*Configure GPIO pins : IN_7_Pin IN_8_Pin IN_9_Pin */
  GPIO_InitStruct.Pin = IN_7_Pin|IN_8_Pin|IN_9_Pin;
  GPIO_InitStruct.Mode = GPIO_MODE_INPUT;
  GPIO_InitStruct.Pull = GPIO_NOPULL;
  HAL_GPIO_Init(GPIOB, &GPIO_InitStruct);

  /*Configure GPIO pin : IN_10_Pin */
  GPIO_InitStruct.Pin = IN_10_Pin;
  GPIO_InitStruct.Mode = GPIO_MODE_IT_RISING;
  GPIO_InitStruct.Pull = GPIO_NOPULL;
  HAL_GPIO_Init(IN_10_GPIO_Port, &GPIO_InitStruct);

  /* EXTI interrupt init*/
  HAL_NVIC_SetPriority(EXTI4_15_IRQn, 0, 0);
  HAL_NVIC_EnableIRQ(EXTI4_15_IRQn);

}

/* USER CODE BEGIN 4 */

void LV3_CAN_PRIMARY_RxFifo0Callback(uint32_t id, uint8_t *data, uint8_t length)
{
  FDCAN_TxHeaderTypeDef tx_header;
  tx_header.IdType = FDCAN_EXTENDED_ID;
  tx_header.Identifier = id;
  tx_header.TxFrameType = FDCAN_DATA_FRAME;
  tx_header.DataLength = length;
  tx_header.ErrorStateIndicator = FDCAN_ESI_ACTIVE;
  tx_header.BitRateSwitch = FDCAN_BRS_OFF;
  tx_header.FDFormat = FDCAN_CLASSIC_CAN;
  tx_header.TxEventFifoControl = FDCAN_NO_TX_EVENTS;
  tx_header.MessageMarker = 0;

  HAL_FDCAN_AddMessageToTxFifoQ(&hfdcan2, &tx_header, data);
}

void HAL_GPIO_EXTI_Rising_Callback(uint16_t GPIO_Pin)
{
  if (GPIO_Pin == IN_10_Pin) {
    uint32_t now = HAL_GetTick();
    if (rpm_last_pulse_tick != 0) {
      rpm_last_period_ms = now - rpm_last_pulse_tick;
    }
    rpm_last_pulse_tick = now;
    rpm_pulse_count++;
  }
}

/* USER CODE END 4 */

void Error_Handler(void)
{
  __disable_irq();
  while (1)
  {
  }
}
